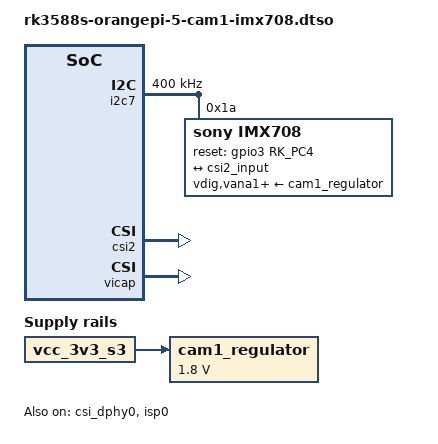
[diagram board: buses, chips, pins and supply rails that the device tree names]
// SPDX-License-Identifier: (GPL-2.0+ OR MIT)
/*
 * IMX708 on Orange Pi 5 / 5B CAM1 (Inno CSI D-PHY + CSI2).
 */

/dts-v1/;
/plugin/;

#include <dt-bindings/clock/rockchip,rk3588-cru.h>
#include <dt-bindings/gpio/gpio.h>
#include <dt-bindings/pinctrl/rockchip.h>

&{/} {
	cam1_regulator: cam1_regulator {
		compatible = "regulator-fixed";
		regulator-name = "cam1_regulator";
		regulator-min-microvolt = <1800000>;
		regulator-max-microvolt = <1800000>;
		vin-supply = <&vcc_3v3_s3>;
	};
};

&i2c7 {
	#address-cells = <1>;
	#size-cells = <0>;
	clock-frequency = <400000>;
	pinctrl-names = "default";
	pinctrl-0 = <&i2c7m0_xfer>;
	status = "okay";

	imx708: camera-sensor@1a {
		compatible = "sony,imx708";
		reg = <0x1a>;
		assigned-clocks = <&cru CLK_MIPI_CAMARAOUT_M3>;
		assigned-clock-rates = <24000000>;
		clocks = <&cru CLK_MIPI_CAMARAOUT_M3>;
		vdig-supply = <&cam1_regulator>;
		vana1-supply = <&cam1_regulator>;
		vana2-supply = <&cam1_regulator>;
		vddl-supply = <&cam1_regulator>;
		orientation = <2>;
		pinctrl-names = "default";
		pinctrl-0 = <&cam1_rstn &mipim0_camera3_clk>;
		reset-gpios = <&gpio3 RK_PC4 GPIO_ACTIVE_HIGH>;
		port {
			imx708_output: endpoint {
				data-lanes = <1 2>;
				clock-noncontinuous;
				link-frequencies = /bits/ 64 <450000000>;
				remote-endpoint = <&csi2_input>;
			};
		};
	};
};

&pinctrl {
	cam1 {
		cam1_rstn: cam1-rstn-pinctrl {
			rockchip,pins = <3 RK_PC4 RK_FUNC_GPIO &pcfg_pull_none>;
		};
	};
};

&csi2 {
	status = "okay";
};

&csi2_in {
	csi2_input: endpoint {
		data-lanes = <1 2>;
		clock-noncontinuous;
		link-frequencies = /bits/ 64 <450000000>;
		remote-endpoint = <&imx708_output>;
	};
};

&csi_dphy0 {
	status = "okay";
};

&vicap {
	status = "okay";
};

&vicap_mmu {
	status = "okay";
};

&isp0 {
	status = "okay";
};

&isp0_mmu {
	status = "okay";
};
